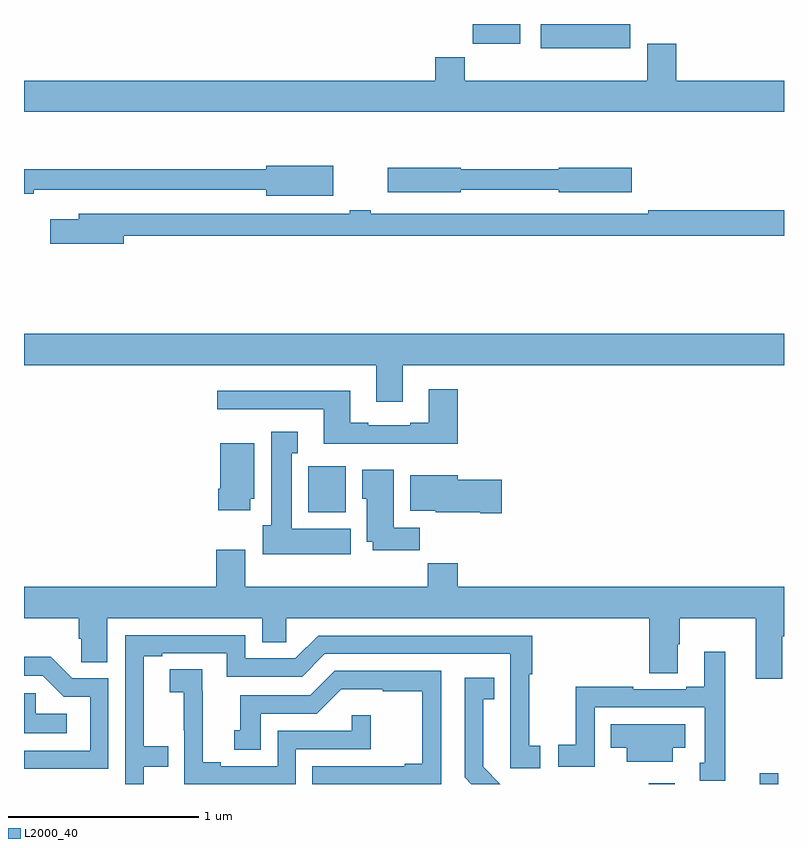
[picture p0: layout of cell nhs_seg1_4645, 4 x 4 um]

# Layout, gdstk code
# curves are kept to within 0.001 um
import gdstk
lib = gdstk.Library(unit=1e-6, precision=1e-09)
def R(c, l, rs):  # rectangles x0, y0, x1, y1
    for r in rs: c.add(gdstk.rectangle(r[:2], r[2:], *l))
def P(c, l, *ps):  # polygons
    for p in ps: c.add(gdstk.Polygon(p, *l))
L2000_40 = (2000, 40)

nhs_seg1_4645 = lib.new_cell('nhs_seg1_4645')
R(nhs_seg1_4645, L2000_40, [(366.288,544.199,366.424,544.204), (366.873,544.199,366.97,544.255), (364.496,545.63,364.693,545.872), (365.721,548.072,366.19,548.199), (365.362,548.094,365.611,548.199)])
P(nhs_seg1_4645, L2000_40, [(367,547.9),(366.434,547.9),(366.434,548.095),(366.281,548.095),(366.281,547.9),(365.321,547.9),(365.321,548.024),(365.165,548.024),(365.165,547.9),(363,547.9),(363,547.736),(367,547.736)],
  [(364.627,547.453),(364.274,547.453),(364.274,547.435),(363,547.435),(363,547.306),(363.05,547.306),(363.05,547.326),(364.274,547.326),(364.274,547.295),(364.627,547.295)],
  [(365.298,547.326),(365.814,547.326),(365.814,547.313),(366.199,547.313),(366.199,547.443),(365.814,547.443),(365.814,547.435),(365.298,547.435),(365.298,547.443),(364.914,547.443),(364.914,547.313),(365.298,547.313)],
  [(363.526,547.084),(367,547.084),(367,547.22),(366.286,547.22),(366.286,547.2),(364.826,547.2),(364.826,547.22),(364.714,547.22),(364.714,547.2),(363.287,547.2),(363.287,547.171),(363.138,547.171),(363.138,547.042),(363.526,547.042)],
  [(364.993,546.404),(367,546.404),(367,546.568),(363,546.568),(363,546.404),(364.853,546.404),(364.853,546.21),(364.993,546.21)],
  [(365.282,546.277),(365.129,546.277),(365.129,546.1),(365.033,546.1),(365.033,546.087),(364.813,546.087),(364.813,546.1),(364.717,546.1),(364.717,546.268),(364.017,546.268),(364.017,546.171),(364.577,546.171),(364.577,545.99),(365.282,545.99)],
  [(364.72,545.542),(364.408,545.542),(364.408,545.939),(364.441,545.939),(364.441,546.052),(364.301,546.052),(364.301,545.562),(364.256,545.562),(364.256,545.408),(364.72,545.408)],
  [(364.192,545.7),(364.213,545.7),(364.213,545.992),(364.034,545.992),(364.034,545.752),(364.022,545.752),(364.022,545.64),(364.192,545.64)],
  [(365.084,545.548),(364.945,545.548),(364.945,545.854),(364.781,545.854),(364.781,545.7),(364.805,545.7),(364.805,545.474),(364.835,545.474),(364.835,545.43),(365.084,545.43)],
  [(365.515,545.801),(365.284,545.801),(365.284,545.824),(365.033,545.824),(365.033,545.636),(365.166,545.636),(365.166,545.63),(365.402,545.63),(365.402,545.623),(365.515,545.623)],
  [(366.991,544.976),(367,544.976),(367,545.236),(365.282,545.236),(365.282,545.36),(365.125,545.36),(365.125,545.236),(364.165,545.236),(364.165,545.431),(364.013,545.431),(364.013,545.236),(363,545.236),(363,545.072),(363.287,545.072),(363.287,544.963),(363.3,544.963),(363.3,544.84),(363.439,544.84),(363.439,545.072),(364.253,545.072),(364.253,544.945),(364.38,544.945),(364.38,545.072),(366.29,545.072),(366.29,544.783),(366.442,544.783),(366.442,544.934),(366.45,544.934),(366.45,545.072),(366.851,545.072),(366.851,544.752),(366.991,544.752)],
  [(363.63,544.29),(363.758,544.29),(363.758,544.399),(363.631,544.399),(363.631,544.872),(363.727,544.872),(363.727,544.887),(364.068,544.887),(364.068,544.764),(364.464,544.764),(364.584,544.884),(365.559,544.884),(365.558,544.281),(365.716,544.281),(365.716,544.401),(365.658,544.401),(365.658,544.777),(365.675,544.777),(365.675,544.98),(364.548,544.98),(364.428,544.86),(364.164,544.86),(364.164,544.983),(363.534,544.983),(363.534,544.199),(363.63,544.199)],
  [(366.691,544.894),(366.581,544.894),(366.581,544.711),(366.485,544.711),(366.485,544.698),(366.206,544.698),(366.206,544.711),(365.905,544.711),(365.905,544.406),(365.811,544.406),(365.811,544.29),(366.003,544.29),(366.003,544.602),(366.582,544.602),(366.582,544.311),(366.557,544.311),(366.557,544.217),(366.691,544.217)],
  [(363.444,544.755),(363.255,544.755),(363.142,544.868),(363,544.868),(363,544.77),(363.099,544.77),(363.21,544.659),(363.348,544.659),(363.348,544.374),(363,544.374),(363,544.278),(363.444,544.278)],
  [(364.431,544.383),(364.826,544.383),(364.826,544.561),(364.725,544.561),(364.725,544.479),(364.335,544.479),(364.335,544.293),(364.036,544.293),(364.036,544.313),(363.94,544.313),(363.94,544.691),(363.938,544.691),(363.938,544.802),(363.768,544.802),(363.768,544.681),(363.842,544.681),(363.842,544.483),(363.843,544.483),(363.843,544.199),(364.431,544.199)],
  [(365.196,544.794),(364.635,544.794),(364.506,544.665),(364.139,544.665),(364.139,544.482),(364.106,544.482),(364.106,544.378),(364.246,544.378),(364.246,544.569),(364.542,544.569),(364.67,544.697),(364.889,544.697),(364.889,544.686),(365.095,544.686),(365.095,544.306),(365.003,544.306),(365.003,544.293),(364.516,544.293),(364.516,544.199),(365.196,544.199)],
  [(365.416,544.289),(365.416,544.646),(365.474,544.646),(365.474,544.759),(365.319,544.759),(365.319,544.234),(365.354,544.199),(365.506,544.199)],
  [(363.226,544.57),(363.063,544.57),(363.063,544.677),(363,544.677),(363,544.466),(363.226,544.466)],
  [(366.415,544.391),(366.481,544.391),(366.481,544.513),(366.088,544.513),(366.088,544.391),(366.173,544.391),(366.173,544.316),(366.415,544.316)])

lib.write_gds('nhs_seg1_4645.gds')
